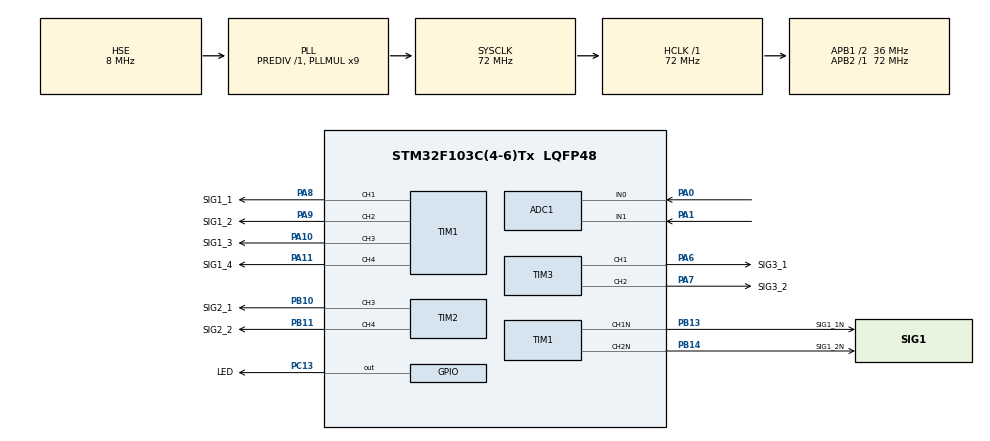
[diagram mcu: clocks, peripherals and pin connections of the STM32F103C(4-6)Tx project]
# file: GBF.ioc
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ADC1.Channel-0\#ChannelRegularConversion=ADC_CHANNEL_0
ADC1.Channel-1\#ChannelRegularConversion=ADC_CHANNEL_1
ADC1.ContinuousConvMode=ENABLE
ADC1.NbrOfConversion=2
ADC1.NbrOfConversionFlag=1
ADC1.Rank-0\#ChannelRegularConversion=1
ADC1.Rank-1\#ChannelRegularConversion=2
ADC1.SamplingTime-0\#ChannelRegularConversion=ADC_SAMPLETIME_28CYCLES_5
ADC1.SamplingTime-1\#ChannelRegularConversion=ADC_SAMPLETIME_28CYCLES_5
ADC1.master=1
Dma.ADC1.0.Direction=DMA_PERIPH_TO_MEMORY
Dma.ADC1.0.Instance=DMA1_Channel1
Dma.ADC1.0.MemDataAlignment=DMA_MDATAALIGN_HALFWORD
Dma.ADC1.0.MemInc=DMA_MINC_ENABLE
Dma.ADC1.0.Mode=DMA_CIRCULAR
Dma.ADC1.0.PeriphDataAlignment=DMA_PDATAALIGN_HALFWORD
Dma.ADC1.0.PeriphInc=DMA_PINC_DISABLE
Dma.ADC1.0.Priority=DMA_PRIORITY_LOW
Dma.Request0=ADC1
Mcu.Family=STM32F1
Mcu.Name=STM32F103C(4-6)Tx
Mcu.Package=LQFP48
NVIC.DMA1_Channel1_IRQn=true\:0\:0\:false\:false\:true\:false\:true\:true
NVIC.PriorityGroup=NVIC_PRIORITYGROUP_4
PA0-WKUP.Signal=ADCx_IN0
PA1.Signal=ADCx_IN1
PA10.GPIO_Label=SIG1_3
PA10.Signal=S_TIM1_CH3
PA11.GPIO_Label=SIG1_4
PA11.Signal=S_TIM1_CH4
PA13.Mode=Serial_Wire
PA13.Signal=SYS_JTMS-SWDIO
PA14.Mode=Serial_Wire
PA14.Signal=SYS_JTCK-SWCLK
PA6.GPIO_Label=SIG3_1
PA6.Signal=S_TIM3_CH1
PA7.GPIO_Label=SIG3_2
PA7.Signal=S_TIM3_CH2
PA8.GPIO_Label=SIG1_1
PA8.Signal=S_TIM1_CH1
PA9.GPIO_Label=SIG1_2
PA9.Signal=S_TIM1_CH2
PB10.GPIO_Label=SIG2_1
PB10.Signal=S_TIM2_CH3
PB11.GPIO_Label=SIG2_2
PB11.Signal=S_TIM2_CH4
PB13.GPIO_Label=SIG1_1N
PB13.Mode=PWM Generation1 CH1 CH1N
PB13.Signal=TIM1_CH1N
PB14.GPIO_Label=SIG1_2N
PB14.Mode=PWM Generation2 CH2 CH2N
PB14.Signal=TIM1_CH2N
PC13-TAMPER-RTC.GPIO_Label=LED
PC13-TAMPER-RTC.Signal=GPIO_Output
PD0-OSC_IN.Mode=HSE-External-Oscillator
PD0-OSC_IN.Signal=RCC_OSC_IN
PD1-OSC_OUT.Mode=HSE-External-Oscillator
PD1-OSC_OUT.Signal=RCC_OSC_OUT
ProjectManager.HeapSize=0x200
ProjectManager.StackSize=0x400
ProjectManager.TargetToolchain=STM32CubeIDE
RCC.ADCPresc=RCC_ADCPCLK2_DIV6
RCC.AHBFreq_Value=72000000
RCC.APB1CLKDivider=RCC_HCLK_DIV2
RCC.APB1Freq_Value=36000000
RCC.APB1TimFreq_Value=72000000
RCC.APB2Freq_Value=72000000
RCC.APB2TimFreq_Value=72000000
RCC.HCLKFreq_Value=72000000
RCC.PLLMUL=RCC_PLL_MUL9
RCC.PLLSourceVirtual=RCC_PLLSOURCE_HSE
RCC.SYSCLKFreq_VALUE=72000000
RCC.SYSCLKSource=RCC_SYSCLKSOURCE_PLLCLK
RCC.USBFreq_Value=72000000
SH.ADCx_IN0.0=ADC1_IN0,IN0
SH.ADCx_IN1.0=ADC1_IN1,IN1
SH.S_TIM1_CH1.0=TIM1_CH1,PWM Generation1 CH1 CH1N
SH.S_TIM1_CH2.0=TIM1_CH2,PWM Generation2 CH2 CH2N
SH.S_TIM1_CH3.0=TIM1_CH3,PWM Generation3 CH3
SH.S_TIM1_CH4.0=TIM1_CH4,PWM Generation4 CH4
SH.S_TIM2_CH3.0=TIM2_CH3,PWM Generation3 CH3
SH.S_TIM2_CH4.0=TIM2_CH4,PWM Generation4 CH4
SH.S_TIM3_CH1.0=TIM3_CH1,PWM Generation1 CH1
SH.S_TIM3_CH2.0=TIM3_CH2,PWM Generation2 CH2
TIM1.AutoReloadPreload=TIM_AUTORELOAD_PRELOAD_ENABLE
TIM1.Channel-PWM\ Generation1\ CH1\ CH1N=TIM_CHANNEL_1
TIM1.Channel-PWM\ Generation2\ CH2\ CH2N=TIM_CHANNEL_2
TIM1.Channel-PWM\ Generation3\ CH3=TIM_CHANNEL_3
TIM1.Channel-PWM\ Generation4\ CH4=TIM_CHANNEL_4
TIM2.AutoReloadPreload=TIM_AUTORELOAD_PRELOAD_ENABLE
TIM2.Channel-PWM\ Generation3\ CH3=TIM_CHANNEL_3
TIM2.Channel-PWM\ Generation4\ CH4=TIM_CHANNEL_4
TIM3.AutoReloadPreload=TIM_AUTORELOAD_PRELOAD_ENABLE
TIM3.Channel-PWM\ Generation1\ CH1=TIM_CHANNEL_1
TIM3.Channel-PWM\ Generation2\ CH2=TIM_CHANNEL_2
VP_TIM1_VS_ClockSourceINT.Mode=Internal
VP_TIM2_VS_ClockSourceINT.Mode=Internal
VP_TIM3_VS_ClockSourceINT.Mode=Internal
board=custom

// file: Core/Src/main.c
/* USER CODE BEGIN Header */
/**
  ******************************************************************************
  * @file           : main.c
  * @brief          : Main program body
  ******************************************************************************
  * @attention
  *
  * Copyright (c) 2022 STMicroelectronics.
  * All rights reserved.
  *
  * This software is licensed under terms that can be found in the LICENSE file
  * in the root directory of this software component.
  * If no LICENSE file comes with this software, it is provided AS-IS.
  *
  ******************************************************************************
  */
/* USER CODE END Header */
#include "main.h"
#include "adc.h"
#include "dma.h"
#include "tim.h"
#include "gpio.h"

/* USER CODE BEGIN PD */
// Un-comment to bypass analog entries and use constant fixed values
//#define FIXED_FREQ 200000 // Max 720_000
//#define FIXED_DUTY 60

// define min max frequency reachable by potentiometer
#define FREQ_MIN 1
#define FREQ_MAX 300 // Max 720_000

// define min max analog values to avoid potentiometer noise and unreachable range
#define POT_MIN 160
#define POT_MAX 3900 // Max 4096

#define ADC_PW_MOY 10 // Min 1, Max 14 due to DMA NDT limit, 8 means an average by 256.
// /!\ ADC_PW_MOY higher than 10 take to much place in RAM and trigger error at compilation

#define LED_INTERVAL 250

/* USER CODE END PD */

/* USER CODE BEGIN PM */
#define FREQ_BDW (FREQ_MAX - FREQ_MIN)
#define POT_INTER (POT_MAX - POT_MIN)

#define ADC_NB_MOY (1 << ADC_PW_MOY)
#define ADC_BUF_SIZE (2 * ADC_NB_MOY)

/* USER CODE END PM */

/* USER CODE BEGIN PV */
uint32_t led_last_time;

uint16_t adc_val[ADC_BUF_SIZE];
uint16_t pot1 = 0;
uint16_t pot2 = 0;

uint32_t freq = 1;
uint16_t ducy = 50;

uint32_t ccr = 0;
uint32_t arr = 0;
uint32_t clk = 0;

uint8_t ipsc = 25; // start with 72 divider
uint16_t psc[67] = { 1,    2,    3,    4,    5,    6,    8,    9,    10,   12, // 72M timer clock dividers
                     15,   16,   18,   20,   24,   25,   30,   32,   36,   40,
                     45,   48,   50,   60,   64,   72,   75,   80,   90,   96,
                     100,  120,  125,  128,  144,  150,  160,  180,  192,  200,
                     225,  240,  250,  256,  288,  300,  320,  360,  375,  384,
                     400,  450,  480,  500,  512,  576,  600,  625,  640,  720,
                     750,  768,  800,  900,  960,  1000, 1125 }; // stop here because enough for minimum frequency 1Hz

/* USER CODE END PV */

void SystemClock_Config(void);
/* USER CODE BEGIN PFP */
void DMA_ADC_init(void);
void get_pot_average(void);
void crop_values(void);
/* USER CODE END PFP */

int main(void)
{

  /* MCU Configuration--------------------------------------------------------*/

  /* Reset of all peripherals, Initializes the Flash interface and the Systick. */
  HAL_Init();

  /* Configure the system clock */
  SystemClock_Config();

  /* Initialize all configured peripherals */
  MX_GPIO_Init();
  MX_DMA_Init();
  MX_ADC1_Init();
  MX_TIM1_Init();
  MX_TIM2_Init();
  MX_TIM3_Init();
  /* USER CODE BEGIN 2 */

  HAL_ADCEx_Calibration_Start(&hadc1);
  // HAL would prefer a 32bit adc_val, but 16bits is enough as ADC is 12bit
  // Also, 32bit would take more place in RAM, limiting average to 512
  HAL_ADC_Start_DMA(&hadc1, adc_val, ADC_BUF_SIZE);
  HAL_TIM_PWM_Start(&htim1, TIM_CHANNEL_1);
  HAL_TIM_PWM_Start(&htim1, TIM_CHANNEL_2);
  HAL_TIM_PWM_Start(&htim1, TIM_CHANNEL_3);
  HAL_TIM_PWM_Start(&htim1, TIM_CHANNEL_4);
  HAL_TIMEx_PWMN_Start(&htim1, TIM_CHANNEL_1);
  HAL_TIMEx_PWMN_Start(&htim1, TIM_CHANNEL_2);
  HAL_Delay(1);	// shift signals
  HAL_TIM_PWM_Start(&htim2, TIM_CHANNEL_3);
  HAL_TIM_PWM_Start(&htim2, TIM_CHANNEL_4);
  HAL_Delay(1); // shift signals
  HAL_TIM_PWM_Start(&htim3, TIM_CHANNEL_1);
  HAL_TIM_PWM_Start(&htim3, TIM_CHANNEL_2);

  /* USER CODE END 2 */

  /* Infinite loop */
  /* USER CODE BEGIN WHILE */
  while (1) {

#if defined(FIXED_FREQ) && defined(FIXED_DUTY)
	  freq = FIXED_FREQ;
	  ducy = FIXED_DUTY;
#else
	  get_pot_average();
	  crop_values();

	  freq = ((float)pot1 / POT_INTER) * FREQ_BDW + FREQ_MIN;
	  ducy = ((float)pot2 / POT_INTER) * 100;
	  if (freq == 0)
		  freq = 1;
	  if (ducy > 100)
		  ducy = 100;
#endif

	  // Search timer setup to fit expected frequency
	  // TIM_CLK = APB_TIM_CLOCK / PRESCALAR
	  // FREQ = TIM_CLOCK / ARR
	  // DUTY (%) = (CCRx / ARR) * 100
	  while (1) {
		  clk = 72000000 / psc[ipsc];
		  arr = clk / freq;
		  if (arr < 100) { // arr > 100 to be able to process any duty-cycle on it
			  ipsc--;
			  continue;
		  } else if (arr > 65535) { // arr is 16 bit register
			  ipsc++;
			  continue;
		  }
		  ccr = (ducy * arr) / 100;
		  break;
	  }

	  TIM1->CCR1 = ccr & 0xFFFF;
	  TIM1->CCR2 = ccr & 0xFFFF;
	  TIM1->CCR3 = ccr & 0xFFFF;
	  TIM1->CCR4 = ccr & 0xFFFF;
	  TIM1->ARR = (arr-1) & 0xFFFF;
	  TIM1->PSC = psc[ipsc]-1;

//	  TIM2->CCR1 = ccr & 0xFFFF;
//	  TIM2->CCR2 = ccr & 0xFFFF;
	  TIM2->CCR3 = ccr & 0xFFFF;
	  TIM2->CCR4 = ccr & 0xFFFF;
	  TIM2->ARR = (arr-1) & 0xFFFF;
	  TIM2->PSC = psc[ipsc]-1;

	  TIM3->CCR1 = ccr & 0xFFFF;
	  TIM3->CCR2 = ccr & 0xFFFF;
//	  TIM3->CCR3 = ccr & 0xFFFF;
//	  TIM3->CCR4 = ccr & 0xFFFF;
	  TIM3->ARR = (arr-1) & 0xFFFF;
	  TIM3->PSC = psc[ipsc]-1;

    /* USER CODE END WHILE */

    /* USER CODE BEGIN 3 */

	  if (HAL_GetTick() - led_last_time > LED_INTERVAL) {
		  led_last_time = HAL_GetTick();
		  HAL_GPIO_TogglePin(LED_GPIO_Port, LED_Pin);
	  }

  }
  /* USER CODE END 3 */
}

void SystemClock_Config(void)
{
  RCC_OscInitTypeDef RCC_OscInitStruct = {0};
  RCC_ClkInitTypeDef RCC_ClkInitStruct = {0};
  RCC_PeriphCLKInitTypeDef PeriphClkInit = {0};

  /** Initializes the RCC Oscillators according to the specified parameters
  * in the RCC_OscInitTypeDef structure.
  */
  RCC_OscInitStruct.OscillatorType = RCC_OSCILLATORTYPE_HSE;
  RCC_OscInitStruct.HSEState = RCC_HSE_ON;
  RCC_OscInitStruct.HSEPredivValue = RCC_HSE_PREDIV_DIV1;
  RCC_OscInitStruct.HSIState = RCC_HSI_ON;
  RCC_OscInitStruct.PLL.PLLState = RCC_PLL_ON;
  RCC_OscInitStruct.PLL.PLLSource = RCC_PLLSOURCE_HSE;
  RCC_OscInitStruct.PLL.PLLMUL = RCC_PLL_MUL9;
  if (HAL_RCC_OscConfig(&RCC_OscInitStruct) != HAL_OK)
  {
    Error_Handler();
  }

  /** Initializes the CPU, AHB and APB buses clocks
  */
  RCC_ClkInitStruct.ClockType = RCC_CLOCKTYPE_HCLK|RCC_CLOCKTYPE_SYSCLK
                              |RCC_CLOCKTYPE_PCLK1|RCC_CLOCKTYPE_PCLK2;
  RCC_ClkInitStruct.SYSCLKSource = RCC_SYSCLKSOURCE_PLLCLK;
  RCC_ClkInitStruct.AHBCLKDivider = RCC_SYSCLK_DIV1;
  RCC_ClkInitStruct.APB1CLKDivider = RCC_HCLK_DIV2;
  RCC_ClkInitStruct.APB2CLKDivider = RCC_HCLK_DIV1;

  if (HAL_RCC_ClockConfig(&RCC_ClkInitStruct, FLASH_LATENCY_2) != HAL_OK)
  {
    Error_Handler();
  }
  PeriphClkInit.PeriphClockSelection = RCC_PERIPHCLK_ADC;
  PeriphClkInit.AdcClockSelection = RCC_ADCPCLK2_DIV6;
  if (HAL_RCCEx_PeriphCLKConfig(&PeriphClkInit) != HAL_OK)
  {
    Error_Handler();
  }
}

/* USER CODE BEGIN 4 */

void get_pot_average(void) {
	uint32_t pot1_c = 0;
	uint32_t pot2_c = 0;
	for (int i = 0; i < ADC_NB_MOY; i+=2) {
		pot1_c += adc_val[i];
		pot2_c += adc_val[i+1];
	}
	pot1 = (uint16_t)(pot1_c >> (ADC_PW_MOY-1));
	pot2 = (uint16_t)(pot2_c >> (ADC_PW_MOY-1));
}

void crop_values(void) {
	if (pot1 < POT_MIN)
		pot1 = POT_MIN;
	if (pot2 < POT_MIN)
		pot2 = POT_MIN;
	if (pot1 > POT_MAX)
		pot1 = POT_MAX;
	if (pot2 > POT_MAX)
		pot2 = POT_MAX;
	pot1 -= POT_MIN;
	pot2 -= POT_MIN;
}

/* USER CODE END 4 */

void Error_Handler(void)
{
  __disable_irq();
  while (1)
  {
  }
}
